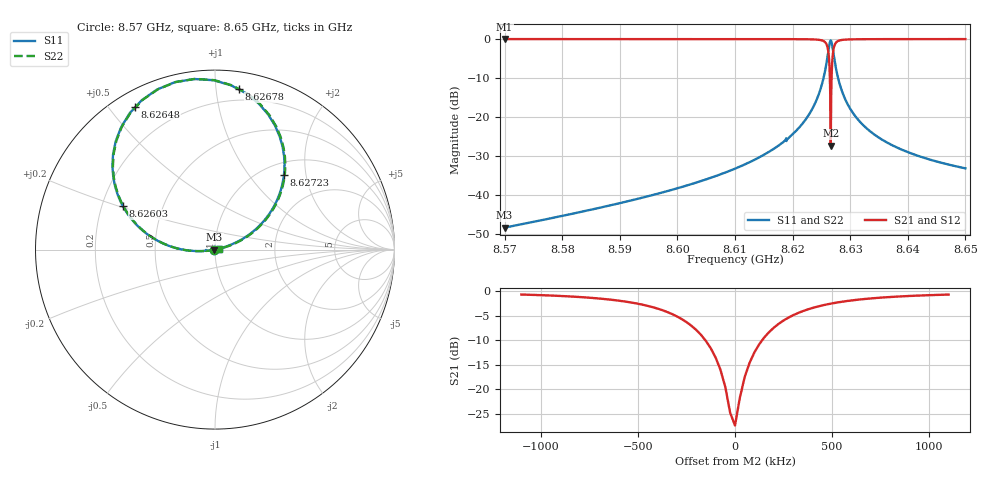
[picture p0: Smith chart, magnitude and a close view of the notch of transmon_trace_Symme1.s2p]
! Sonnet Data File
! From: emgraph Version : 16.52
! From Emgraph Data: 171122transmon_trace_Symme
! Data File Written: 11/23/2017 09:58:58
!< HDATE 11/22/2017 17:49:49
!< MDATE 11/22/2017 17:49:49
!< PARAMS
!< Lj = 15.24
!< Gap = 14.0
!< Width = 10.0
!< END PARAMS
# GHZ S MA R 51.90000
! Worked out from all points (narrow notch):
!   3201 points, 8.57 GHz to 8.65 GHz, reference 51.9 ohm
!   highest |S21| = 0.00 dB at 8.57 GHz (marker M1); lowest = -27.4 dB at 8.62663 GHz (marker M2)
!   notch at M2: 27.4 dB deep, 183 kHz wide at half that depth
!   lowest |S11| = -48.5 dB at 8.57 GHz (marker M3), VSWR 1.01, Z = 51.5 + j0.0055 ohm
!   |S11| at or under -10 dB: start of sweep to 8.62537 GHz; 8.627892 GHz to end of sweep
!   |S22| runs from -48.5 to -0.4 dB; largest |S21 - S12| = 2.6e-10
!   S11 on the Smith chart (normalised r, x): 8.57 GHz: 0.99, +0.00; 8.62603 GHz: 0.29, +0.21; 8.62648 GHz: 0.06, +0.59; 8.62678 GHz: 0.12, +1.15; 8.62723 GHz: 1.23, +1.50; 8.65 GHz: 1.04, +0.01
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8.57  0.003776 179.2  1 -78.8  1 -78.8  0.003774 -157.0
!< P1 F=8.57 Eeff=(6.44691028 -2.9786e-5) Z0=(51.7997052 1.19085e-4) R=0.0 C=0.0
!< P2 F=8.57 Eeff=(6.44691028 -2.9786e-5) Z0=(51.7997052 1.19085e-4) R=0.0 C=0.0
8.58335  0.006039 -176.5  1 -79.1  1 -79.1  0.006038 -161.8
8.596675  0.01035 -173.7  0.9999 -79.5  0.9999 -79.5  0.01035 -165.3
8.61  0.02163 -172.2  0.9997 -80.2  0.9997 -80.2  0.02163 -168.4
8.6193  0.05358 -173.0  0.9984 -82.1  0.9984 -82.1  0.05357 -171.6
8.62335  0.1242 -176.7  0.9916 -86.2  0.9916 -86.2  0.1242 -176.4
8.6253  0.3003 172.7  0.9498 -96.6  0.9498 -96.6  0.3002 172.6
8.625725  0.4209 165.0  0.8988 -104.0  0.8988 -104.0  0.4209 164.7
8.626025  0.5692 154.6  0.8054 -113.8  0.8054 -113.8  0.5692 154.3
8.62625  0.7346 141.1  0.6443 -126.3  0.6443 -126.3  0.7345 140.8
8.626475  0.9125 119.1  0.3128 -144.0  0.3128 -144.0  0.9124 118.8
8.626625  0.9599 100.2  0.04282 -59.2  0.04282 -59.2  0.9598 99.8
8.626775  0.9044 81.5  0.3376 -15.1  0.3376 -15.1  0.9044 81.0
8.627  0.7259 60.2  0.6553 -32.7  0.6553 -32.7  0.7259 59.7
8.627225  0.5652 47.2  0.8088 -44.7  0.8088 -44.7  0.5651 46.6
8.627575  0.4035 36.0  0.9076 -55.4  0.9076 -55.4  0.4035 35.4
8.628075  0.2806 28.2  0.9565 -62.9  0.9565 -62.9  0.2805 27.5
8.629  0.1778 22.0  0.9828 -68.9  0.9828 -68.9  0.1778 21.0
8.6302  0.1206 18.6  0.9921 -72.2  0.9921 -72.2  0.1206 17.4
8.6329  0.07074 15.9  0.9973 -75.1  0.9973 -75.1  0.07074 14.2
8.636675  0.04568 14.7  0.9989 -76.6  0.9989 -76.6  0.04568 12.3
8.65  0.02183 14.3  0.9997 -78.1  0.9997 -78.1  0.02183 9.6
